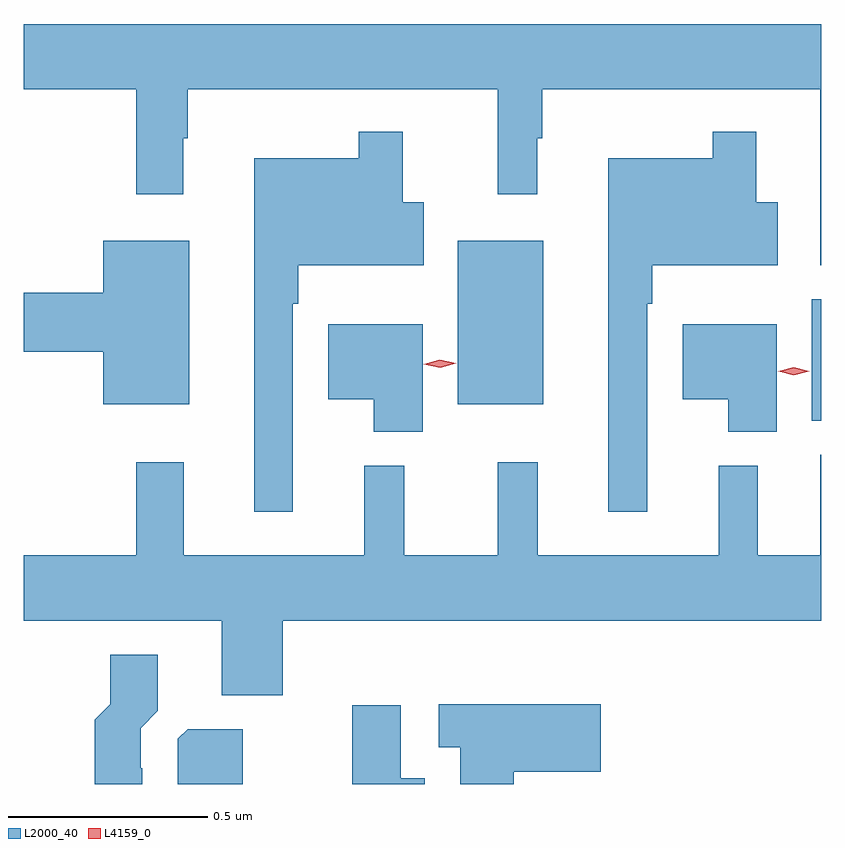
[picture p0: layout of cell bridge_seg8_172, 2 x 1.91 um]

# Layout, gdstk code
import gdstk
lib = gdstk.Library(unit=1e-6, precision=1e-09)
def R(c, l, rs):  # rectangles x0, y0, x1, y1
    for r in rs: c.add(gdstk.rectangle(r[:2], r[2:], *l))
def P(c, l, *ps):  # polygons
    for p in ps: c.add(gdstk.Polygon(p, *l))
L2000_40 = (2000, 40)
L4159_0 = (4159, 0)

bridge_seg8_172 = lib.new_cell('bridge_seg8_172')
R(bridge_seg8_172, L2000_40, [(542.312,1091.693,542.336,1091.998), (541.424,1091.735,541.639,1092.145)])
P(bridge_seg8_172, L2000_40, [(542.336,1092.688),(540.336,1092.688),(540.336,1092.524),(540.619,1092.524),(540.619,1092.261),(540.736,1092.261),(540.736,1092.401),(540.748,1092.401),(540.748,1092.524),(541.525,1092.524),(541.525,1092.261),(541.624,1092.261),(541.624,1092.401),(541.636,1092.401),(541.636,1092.524),(542.333,1092.524),(542.333,1092.083),(542.336,1092.083)],
  [(541.011,1091.987),(541.024,1091.987),(541.024,1092.083),(541.339,1092.083),(541.339,1092.241),(541.287,1092.241),(541.287,1092.418),(541.176,1092.418),(541.176,1092.352),(540.914,1092.352),(540.914,1091.466),(541.011,1091.466)],
  [(541.899,1091.987),(541.912,1091.987),(541.912,1092.083),(542.227,1092.083),(542.227,1092.241),(542.173,1092.241),(542.173,1092.418),(542.064,1092.418),(542.064,1092.352),(541.802,1092.352),(541.802,1091.466),(541.899,1091.466)],
  [(540.751,1092.145),(540.536,1092.145),(540.536,1092.014),(540.336,1092.014),(540.336,1091.867),(540.536,1091.867),(540.536,1091.735),(540.751,1091.735)],
  [(542.224,1091.935),(541.988,1091.935),(541.988,1091.747),(542.102,1091.747),(542.102,1091.666),(542.224,1091.666)],
  [(541.336,1091.935),(541.1,1091.935),(541.1,1091.747),(541.214,1091.747),(541.214,1091.666),(541.336,1091.666)],
  [(540.986,1091.192),(542.336,1091.192),(542.336,1091.608),(542.333,1091.608),(542.333,1091.356),(542.176,1091.356),(542.176,1091.581),(542.078,1091.581),(542.078,1091.356),(541.625,1091.356),(541.625,1091.59),(541.525,1091.59),(541.525,1091.356),(541.29,1091.356),(541.29,1091.581),(541.19,1091.581),(541.19,1091.356),(540.737,1091.356),(540.737,1091.59),(540.619,1091.59),(540.619,1091.356),(540.336,1091.356),(540.336,1091.192),(540.833,1091.192),(540.833,1091.005),(540.986,1091.005)],
  [(540.633,1090.823),(540.63,1090.823),(540.63,1090.923),(540.673,1090.966),(540.673,1091.107),(540.553,1091.107),(540.553,1090.983),(540.515,1090.944),(540.515,1090.783),(540.633,1090.783)],
  [(541.565,1090.814),(541.783,1090.814),(541.783,1090.983),(541.377,1090.983),(541.377,1090.875),(541.43,1090.875),(541.43,1090.783),(541.565,1090.783)],
  [(541.342,1090.798),(541.282,1090.798),(541.282,1090.981),(541.16,1090.981),(541.16,1090.783),(541.342,1090.783)],
  [(540.886,1090.92),(540.747,1090.92),(540.723,1090.896),(540.723,1090.783),(540.886,1090.783)])
P(bridge_seg8_172, L4159_0, [(542.267,1091.808),(542.228,1091.818),(542.228,1091.818),(542.228,1091.818),(542.267,1091.828),(542.306,1091.818),(542.306,1091.818),(542.306,1091.818)],
  [(541.38,1091.826),(541.339,1091.835),(541.339,1091.835),(541.339,1091.835),(541.379,1091.846),(541.42,1091.838),(541.42,1091.838),(541.42,1091.838)])

lib.write_gds('bridge_seg8_172.gds')
